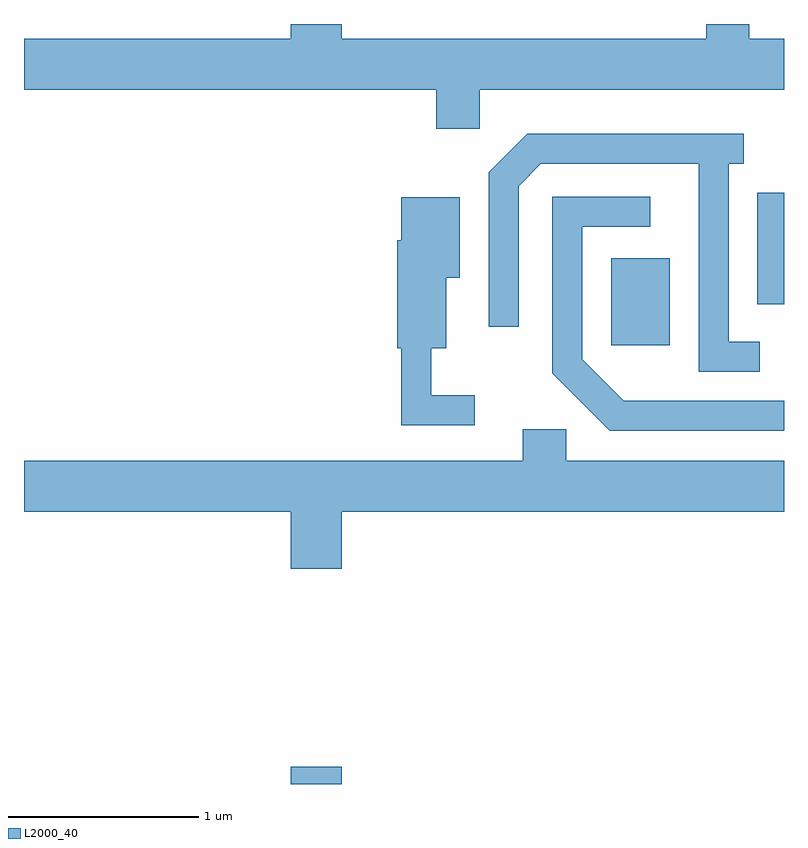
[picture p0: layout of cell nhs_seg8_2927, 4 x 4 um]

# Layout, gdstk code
import gdstk
lib = gdstk.Library(unit=1e-6, precision=1e-09)
def R(c, l, rs):  # rectangles x0, y0, x1, y1
    for r in rs: c.add(gdstk.rectangle(r[:2], r[2:], *l))
def P(c, l, *ps):  # polygons
    for p in ps: c.add(gdstk.Polygon(p, *l))
L2000_40 = (2000, 40)

nhs_seg8_2927 = lib.new_cell('nhs_seg8_2927')
R(nhs_seg8_2927, L2000_40, [(275.016,1808.342,275.284,1808.434), (276.701,1810.651,277.009,1811.109), (277.471,1810.868,277.611,1811.454)])
P(nhs_seg8_2927, L2000_40, [(277.611,1812.264),(277.429,1812.264),(277.429,1812.342),(277.201,1812.342),(277.201,1812.264),(275.284,1812.264),(275.284,1812.342),(275.016,1812.342),(275.016,1812.264),(273.611,1812.264),(273.611,1811.996),(275.781,1811.996),(275.781,1811.791),(276.009,1811.791),(276.009,1811.996),(277.611,1811.996)],
  [(277.483,1810.669),(277.319,1810.669),(277.319,1811.606),(277.398,1811.606),(277.398,1811.764),(276.259,1811.764),(276.056,1811.562),(276.056,1810.748),(276.214,1810.748),(276.214,1811.489),(276.332,1811.606),(277.161,1811.606),(277.161,1810.511),(277.483,1810.511)],
  [(277.611,1810.359),(276.767,1810.359),(276.549,1810.577),(276.549,1811.276),(276.908,1811.276),(276.908,1811.434),(276.391,1811.434),(276.391,1810.504),(276.694,1810.201),(277.611,1810.201)],
  [(275.983,1810.389),(275.754,1810.389),(275.754,1810.636),(275.834,1810.636),(275.834,1811.006),(275.904,1811.006),(275.904,1811.429),(275.596,1811.429),(275.596,1811.204),(275.576,1811.204),(275.576,1810.636),(275.596,1810.636),(275.596,1810.231),(275.983,1810.231)],
  [(275.284,1809.776),(277.611,1809.776),(277.611,1810.044),(276.464,1810.044),(276.464,1810.209),(276.236,1810.209),(276.236,1810.044),(273.611,1810.044),(273.611,1809.776),(275.016,1809.776),(275.016,1809.476),(275.284,1809.476)])

lib.write_gds('nhs_seg8_2927.gds')
